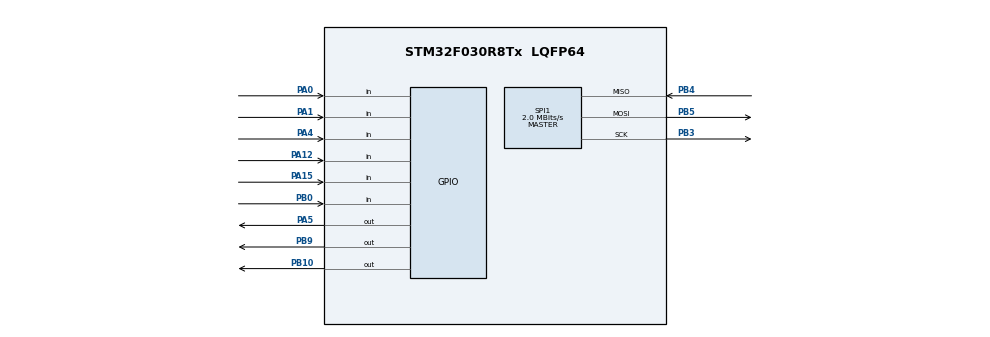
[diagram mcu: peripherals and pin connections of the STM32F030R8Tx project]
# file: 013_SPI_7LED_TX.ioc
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Mcu.Family=STM32F0
Mcu.Name=STM32F030R8Tx
Mcu.Package=LQFP64
PA0.GPIO_PuPd=GPIO_PULLUP
PA0.Signal=GPIO_Input
PA1.GPIO_PuPd=GPIO_PULLUP
PA1.Signal=GPIO_Input
PA12.GPIO_PuPd=GPIO_PULLUP
PA12.Signal=GPIO_Input
PA13.Mode=Serial_Wire
PA13.Signal=SYS_SWDIO
PA14.Mode=Serial_Wire
PA14.Signal=SYS_SWCLK
PA15.GPIO_PuPd=GPIO_PULLUP
PA15.Signal=GPIO_Input
PA4.GPIO_PuPd=GPIO_PULLUP
PA4.Signal=GPIO_Input
PA5.Signal=GPIO_Output
PB0.GPIO_PuPd=GPIO_PULLUP
PB0.Signal=GPIO_Input
PB10.GPIO_Speed=GPIO_SPEED_FREQ_HIGH
PB10.PinState=GPIO_PIN_RESET
PB10.Signal=GPIO_Output
PB3.Mode=Full_Duplex_Master
PB3.Signal=SPI1_SCK
PB4.Mode=Full_Duplex_Master
PB4.Signal=SPI1_MISO
PB5.Mode=Full_Duplex_Master
PB5.Signal=SPI1_MOSI
PB9.GPIO_Speed=GPIO_SPEED_FREQ_HIGH
PB9.Signal=GPIO_Output
ProjectManager.HeapSize=0x200
ProjectManager.StackSize=0x400
ProjectManager.TargetToolchain=STM32CubeIDE
SPI1.BaudRatePrescaler=SPI_BAUDRATEPRESCALER_4
SPI1.CalculateBaudRate=2.0 MBits/s
SPI1.DataSize=SPI_DATASIZE_8BIT
SPI1.Direction=SPI_DIRECTION_2LINES
SPI1.Mode=SPI_MODE_MASTER
SPI1.VirtualType=VM_MASTER
board=custom

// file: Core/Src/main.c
/* USER CODE BEGIN Header */
/**
  ******************************************************************************
  * @file           : main.c
  * @brief          : Main program body
  ******************************************************************************
  * @attention
  *
  * Copyright (c) 2025 STMicroelectronics.
  * All rights reserved.
  *
  * This software is licensed under terms that can be found in the LICENSE file
  * in the root directory of this software component.
  * If no LICENSE file comes with this software, it is provided AS-IS.
  *
  ******************************************************************************
  */
/* USER CODE END Header */
#include "main.h"

/* USER CODE BEGIN Includes */
#include "nrf24l01.h"
#include "string.h"

/* USER CODE END Includes */

SPI_HandleTypeDef hspi1;

/* USER CODE BEGIN PV */
uint8_t tx_address[5] = {0xD1, 0xC2, 0xC3, 0xC4, 0xC5}; // Özel bir adres
uint8_t tx_data[7]; // Gönderilecek veri

/* USER CODE END PV */

void SystemClock_Config(void);
static void MX_GPIO_Init(void);
static void MX_SPI1_Init(void);

int main(void)
{

  /* MCU Configuration--------------------------------------------------------*/

  /* Reset of all peripherals, Initializes the Flash interface and the Systick. */
  HAL_Init();

  /* Configure the system clock */
  SystemClock_Config();

  /* Initialize all configured peripherals */
  MX_GPIO_Init();
  MX_SPI1_Init();
  /* USER CODE BEGIN 2 */
  	 nrf24_config(40, 7); // 2.4 GHz bandında 40. kanalda, 32 byte payload
     nrf24_tx_address(tx_address);
     nrf24_tx_mode();
  /* USER CODE END 2 */

  /* Infinite loop */
  while (1)
  {

    /* USER CODE BEGIN 3 */
	  tx_data[0] = !HAL_GPIO_ReadPin(GPIOA, GPIO_PIN_0);
	  tx_data[1] = !HAL_GPIO_ReadPin(GPIOA, GPIO_PIN_1);
	  tx_data[2] = !HAL_GPIO_ReadPin(GPIOA, GPIO_PIN_12);
	  tx_data[3] = !HAL_GPIO_ReadPin(GPIOA, GPIO_PIN_4);
	  tx_data[4] = !HAL_GPIO_ReadPin(GPIOB, GPIO_PIN_0);
	  tx_data[5] = !HAL_GPIO_ReadPin(GPIOA, GPIO_PIN_15);

	             if (nrf24_send((uint8_t*)tx_data, 7))
	             {
	               HAL_GPIO_TogglePin(GPIOA, GPIO_PIN_5);
	             }
	             HAL_Delay(200); // 1 saiye bekle

  }
  /* USER CODE END 3 */
}

void SystemClock_Config(void)
{
  RCC_OscInitTypeDef RCC_OscInitStruct = {0};
  RCC_ClkInitTypeDef RCC_ClkInitStruct = {0};

  /** Initializes the RCC Oscillators according to the specified parameters
  * in the RCC_OscInitTypeDef structure.
  */
  RCC_OscInitStruct.OscillatorType = RCC_OSCILLATORTYPE_HSI;
  RCC_OscInitStruct.HSIState = RCC_HSI_ON;
  RCC_OscInitStruct.HSICalibrationValue = RCC_HSICALIBRATION_DEFAULT;
  RCC_OscInitStruct.PLL.PLLState = RCC_PLL_NONE;
  if (HAL_RCC_OscConfig(&RCC_OscInitStruct) != HAL_OK)
  {
    Error_Handler();
  }

  /** Initializes the CPU, AHB and APB buses clocks
  */
  RCC_ClkInitStruct.ClockType = RCC_CLOCKTYPE_HCLK|RCC_CLOCKTYPE_SYSCLK
                              |RCC_CLOCKTYPE_PCLK1;
  RCC_ClkInitStruct.SYSCLKSource = RCC_SYSCLKSOURCE_HSI;
  RCC_ClkInitStruct.AHBCLKDivider = RCC_SYSCLK_DIV1;
  RCC_ClkInitStruct.APB1CLKDivider = RCC_HCLK_DIV1;

  if (HAL_RCC_ClockConfig(&RCC_ClkInitStruct, FLASH_LATENCY_0) != HAL_OK)
  {
    Error_Handler();
  }
}

static void MX_SPI1_Init(void)
{

  /* SPI1 parameter configuration*/
  hspi1.Instance = SPI1;
  hspi1.Init.Mode = SPI_MODE_MASTER;
  hspi1.Init.Direction = SPI_DIRECTION_2LINES;
  hspi1.Init.DataSize = SPI_DATASIZE_8BIT;
  hspi1.Init.CLKPolarity = SPI_POLARITY_LOW;
  hspi1.Init.CLKPhase = SPI_PHASE_1EDGE;
  hspi1.Init.NSS = SPI_NSS_SOFT;
  hspi1.Init.BaudRatePrescaler = SPI_BAUDRATEPRESCALER_4;
  hspi1.Init.FirstBit = SPI_FIRSTBIT_MSB;
  hspi1.Init.TIMode = SPI_TIMODE_DISABLE;
  hspi1.Init.CRCCalculation = SPI_CRCCALCULATION_DISABLE;
  hspi1.Init.CRCPolynomial = 7;
  hspi1.Init.CRCLength = SPI_CRC_LENGTH_DATASIZE;
  hspi1.Init.NSSPMode = SPI_NSS_PULSE_ENABLE;
  if (HAL_SPI_Init(&hspi1) != HAL_OK)
  {
    Error_Handler();
  }

}

static void MX_GPIO_Init(void)
{
  GPIO_InitTypeDef GPIO_InitStruct = {0};

  /* GPIO Ports Clock Enable */
  __HAL_RCC_GPIOA_CLK_ENABLE();
  __HAL_RCC_GPIOB_CLK_ENABLE();

  /*Configure GPIO pin Output Level */
  HAL_GPIO_WritePin(GPIOA, GPIO_PIN_5, GPIO_PIN_RESET);

  /*Configure GPIO pin Output Level */
  HAL_GPIO_WritePin(GPIOB, GPIO_PIN_10|GPIO_PIN_9, GPIO_PIN_RESET);

  /*Configure GPIO pins : PA0 PA1 PA4 PA12
                           PA15 */
  GPIO_InitStruct.Pin = GPIO_PIN_0|GPIO_PIN_1|GPIO_PIN_4|GPIO_PIN_12
                          |GPIO_PIN_15;
  GPIO_InitStruct.Mode = GPIO_MODE_INPUT;
  GPIO_InitStruct.Pull = GPIO_PULLUP;
  HAL_GPIO_Init(GPIOA, &GPIO_InitStruct);

  /*Configure GPIO pin : PA5 */
  GPIO_InitStruct.Pin = GPIO_PIN_5;
  GPIO_InitStruct.Mode = GPIO_MODE_OUTPUT_PP;
  GPIO_InitStruct.Pull = GPIO_NOPULL;
  GPIO_InitStruct.Speed = GPIO_SPEED_FREQ_LOW;
  HAL_GPIO_Init(GPIOA, &GPIO_InitStruct);

  /*Configure GPIO pin : PB0 */
  GPIO_InitStruct.Pin = GPIO_PIN_0;
  GPIO_InitStruct.Mode = GPIO_MODE_INPUT;
  GPIO_InitStruct.Pull = GPIO_PULLUP;
  HAL_GPIO_Init(GPIOB, &GPIO_InitStruct);

  /*Configure GPIO pins : PB10 PB9 */
  GPIO_InitStruct.Pin = GPIO_PIN_10|GPIO_PIN_9;
  GPIO_InitStruct.Mode = GPIO_MODE_OUTPUT_PP;
  GPIO_InitStruct.Pull = GPIO_NOPULL;
  GPIO_InitStruct.Speed = GPIO_SPEED_FREQ_HIGH;
  HAL_GPIO_Init(GPIOB, &GPIO_InitStruct);

}

void Error_Handler(void)
{
  __disable_irq();
  while (1)
  {
  }
}
